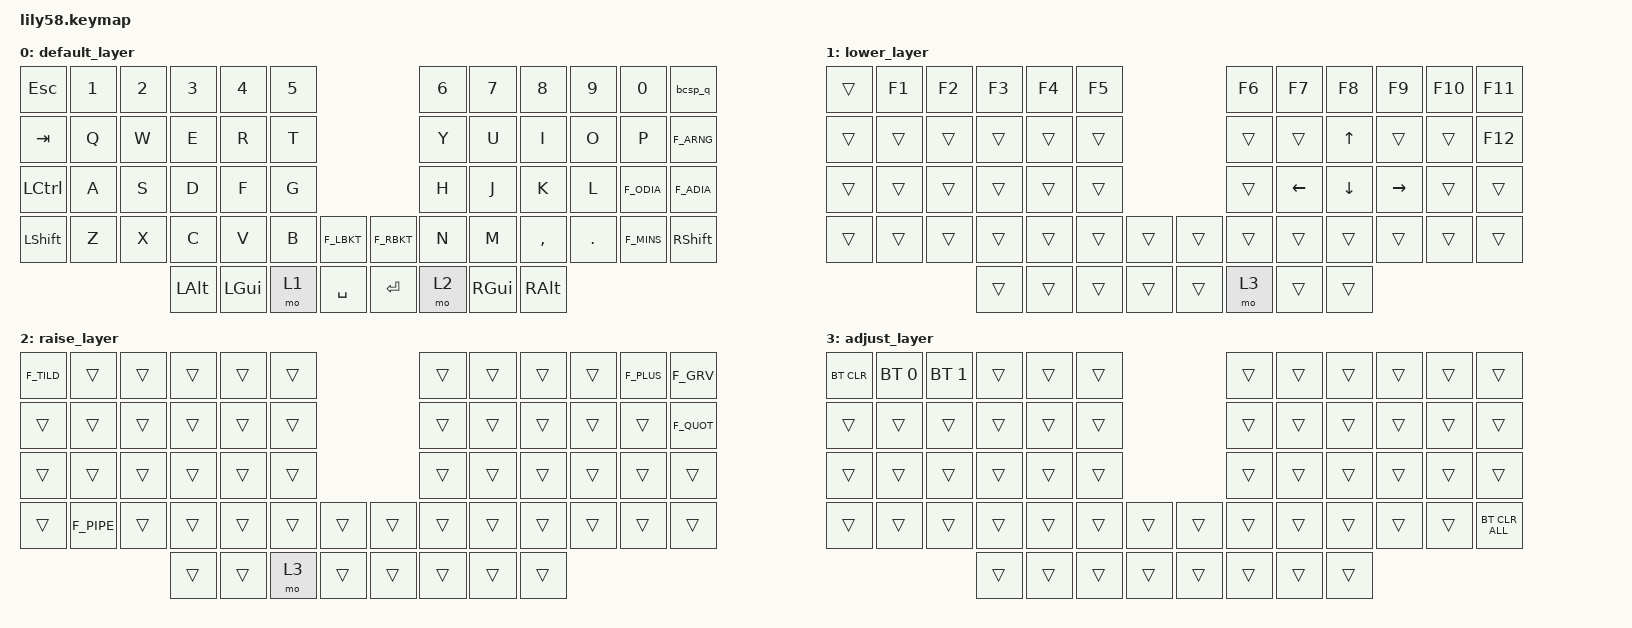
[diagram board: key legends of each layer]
/*
 * Copyright (c) 2020 The ZMK Contributors
 *
 * SPDX-License-Identifier: MIT
 */

#include "definitions.h"
#include <behaviors.dtsi>
#include <dt-bindings/zmk/bt.h>
#include <dt-bindings/zmk/keys.h>

/ {
    behaviors {
        bcsp_q: bcsp_q {
            compatible = "zmk,behavior-mod-morph";
            label = "BCSP_Q";
            bindings = <&kp BACKSPACE>, <&kp F_QUES>;

            #binding-cells = <0>;
            mods = <(MOD_LSFT|MOD_RSFT)>;
        };
    };

    keymap {
        compatible = "zmk,keymap";

        default_layer {
            // ------------------------------------------------------------------------------------------------------------
            // |  ESC  |  1  |  2  |  3   |  4   |  5   |                   |  6   |  7    |  8    |  9   |   0   |  BKSP |
            // |  TAB  |  Q  |  W  |  E   |  R   |  T   |                   |  Y   |  U    |  I    |  O   |   P   |       |
            // |  CTRL |  A  |  S  |  D   |  F   |  G   |                   |  H   |  J    |  K    |  L   |   Ö   |   Ä   |
            // | SHIFT |  Z  |  X  |  C   |  V   |  B   |   "["  |  |  "]"  |  N   |  M    |  ,    |  .   |   -   | SHIFT |
            //                     | ALT  | GUI  | LOWER|  SPACE |  | ENTER | RAISE| BSPC  | GUI   |

            bindings = <
&kp ESC    &kp N1  &kp N2  &kp N3    &kp N4    &kp N5                            &kp N6  &kp N7    &kp N8     &kp N9   &kp N0      &bcsp_q
&kp TAB    &kp Q   &kp W   &kp E     &kp R     &kp T                             &kp Y   &kp U     &kp I      &kp O    &kp P       &kp F_ARNG
&kp LCTRL  &kp A   &kp S   &kp D     &kp F     &kp G                             &kp H   &kp J     &kp K      &kp L    &kp F_ODIA  &kp F_ADIA
&kp LSHFT  &kp Z   &kp X   &kp C     &kp V     &kp B   &kp F_LBKT    &kp F_RBKT  &kp N   &kp M     &kp COMMA  &kp DOT  &kp F_MINS  &kp RSHFT
                           &kp LALT  &kp LGUI  &mo 1   &kp SPACE     &kp RET     &mo 2   &kp RGUI  &kp RALT
            >;
        };

        lower_layer {
            // ------------------------------------------------------------------------------------------------------------
            // | trans | F1 | F2 | F3  | F4  | F5  |                   |   F6   |   F7    |   F8  |   F9  |   F10    |   F11    |
            // |       |    |    |     |     |     |                   |        |         |   UP  |       |          |   F12    |
            // |       |    |    |     |     |     |                   |        |   LEFT  | DOWN  | RIGHT |          |          |
            // |       |    |    |     |     |     |    |        |     |        |         |       |       |          |          |
            //                   |     |     |     |    |        |     |        |         |       |

            bindings = <
&trans  &kp F1  &kp F2  &kp F3  &kp F4  &kp F5                    &kp F6  &kp F7          &kp F8          &kp F9           &kp F10  &kp F11
&trans  &trans  &trans  &trans  &trans  &trans                    &trans  &trans          &kp UP_ARROW    &trans           &trans   &kp F12
&trans  &trans  &trans  &trans  &trans  &trans                    &trans  &kp LEFT_ARROW  &kp DOWN_ARROW  &kp RIGHT_ARROW  &trans   &trans
&trans  &trans  &trans  &trans  &trans  &trans  &trans    &trans  &trans  &trans          &trans          &trans           &trans   &trans
                        &trans  &trans  &trans  &trans    &trans  &mo 3   &trans          &trans
            >;
        };

        raise_layer {
            // ------------------------------------------------------------------------------------------------------------
            // |   ~   |     |     |      |      |      |                   |      |       |       |      |   +   |   `   |
            // |       |     |     |      |      |      |                   |      |       |       |      |       |   '   |
            // |       |     |     |      |      |      |                   |      |       |       |      |       |       |
            // |       | "|" |     |      |      |      |        |  |       |      |       |       |      |       |       |
            //                     |      |      |      |        |  |       |      |       |       |

            bindings = <
&kp F_TILD  &trans      &trans  &trans  &trans  &trans                    &trans  &trans  &trans  &trans  &kp F_PLUS  &kp F_GRV
&trans      &trans      &trans  &trans  &trans  &trans                    &trans  &trans  &trans  &trans  &trans      &kp F_QUOT
&trans      &trans      &trans  &trans  &trans  &trans                    &trans  &trans  &trans  &trans  &trans      &trans
&trans      &kp F_PIPE  &trans  &trans  &trans  &trans  &trans    &trans  &trans  &trans  &trans  &trans  &trans      &trans
                                &trans  &trans  &mo 3   &trans    &trans  &trans  &trans  &trans
            >;
        };

        adjust_layer {
            // ------------------------------------------------------------------------------------------------------------
            // |       |     |     |      |      |      |                   |      |       |       |      |       |       |
            // |       |     |     |      |      |      |                   |      |       |       |      |       |       |
            // |       |     |     |      |      |      |                   |      |       |       |      |       |       |
            // |       |     |     |      |      |      |        |  |       |      |       |       |      |       |       |
            //                     |      |      |      |        |  |       |      |       |       |

            bindings = <
&bt BT_CLR  &bt BT_SEL 0  &bt BT_SEL 1  &trans  &trans  &trans                    &trans  &trans  &trans  &trans  &trans  &trans
&trans      &trans        &trans        &trans  &trans  &trans                    &trans  &trans  &trans  &trans  &trans  &trans
&trans      &trans        &trans        &trans  &trans  &trans                    &trans  &trans  &trans  &trans  &trans  &trans
&trans      &trans        &trans        &trans  &trans  &trans  &trans    &trans  &trans  &trans  &trans  &trans  &trans  &bt BT_CLR_ALL
                                        &trans  &trans  &trans  &trans    &trans  &trans  &trans  &trans
            >;
        };
    };
};
